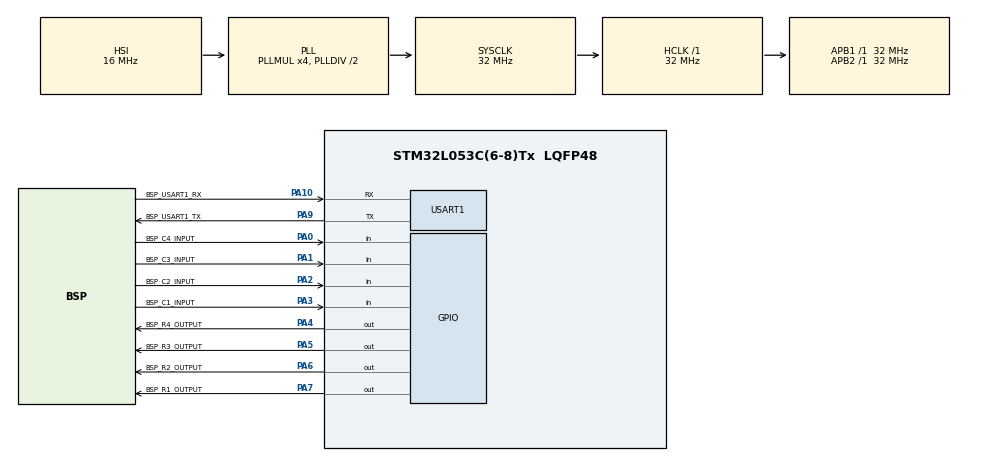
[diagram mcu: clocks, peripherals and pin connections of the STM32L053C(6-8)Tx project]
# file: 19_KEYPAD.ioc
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Mcu.Family=STM32L0
Mcu.Name=STM32L053C(6-8)Tx
Mcu.Package=LQFP48
PA0.GPIO_Label=BSP_C4_INPUT
PA0.GPIO_PuPd=GPIO_PULLDOWN
PA0.Signal=GPIO_Input
PA1.GPIO_Label=BSP_C3_INPUT
PA1.GPIO_PuPd=GPIO_PULLDOWN
PA1.Signal=GPIO_Input
PA10.GPIO_Label=BSP_USART1_RX
PA10.Mode=Asynchronous
PA10.Signal=USART1_RX
PA13.Mode=Serial_Wire
PA13.Signal=SYS_SWDIO
PA14.Mode=Serial_Wire
PA14.Signal=SYS_SWCLK
PA2.GPIO_Label=BSP_C2_INPUT
PA2.GPIO_PuPd=GPIO_PULLDOWN
PA2.Signal=GPIO_Input
PA3.GPIO_Label=BSP_C1_INPUT
PA3.GPIO_PuPd=GPIO_PULLDOWN
PA3.Signal=GPIO_Input
PA4.GPIO_Label=BSP_R4_OUTPUT
PA4.Signal=GPIO_Output
PA5.GPIO_Label=BSP_R3_OUTPUT
PA5.Signal=GPIO_Output
PA6.GPIO_Label=BSP_R2_OUTPUT
PA6.Signal=GPIO_Output
PA7.GPIO_Label=BSP_R1_OUTPUT
PA7.Signal=GPIO_Output
PA9.GPIO_Label=BSP_USART1_TX
PA9.Mode=Asynchronous
PA9.Signal=USART1_TX
ProjectManager.HeapSize=0x200
ProjectManager.StackSize=0x400
ProjectManager.TargetToolchain=STM32CubeIDE
RCC.AHBFreq_Value=32000000
RCC.APB1Freq_Value=32000000
RCC.APB1TimFreq_Value=32000000
RCC.APB2Freq_Value=32000000
RCC.APB2TimFreq_Value=32000000
RCC.HCLKFreq_Value=32000000
RCC.HSE_VALUE=8000000
RCC.HSI16_VALUE=16000000
RCC.HSI48MClockSelection=RCC_USBCLKSOURCE_HSI48
RCC.HSI48_VALUE=48000000
RCC.HSI_VALUE=16000000
RCC.LSE_VALUE=32768
RCC.MSI_VALUE=2097000
RCC.PLLMUL=RCC_PLLMUL_4
RCC.RTCClockSelectionVirtual=RCC_RTCCLKSOURCE_LSE
RCC.SYSCLKFreq_VALUE=32000000
RCC.SYSCLKSource=RCC_SYSCLKSOURCE_PLLCLK
RCC.VCOOutputFreq_Value=64000000
USART1.VirtualMode-Asynchronous=VM_ASYNC
board=STM32L0538-DISCO

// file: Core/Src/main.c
/* USER CODE BEGIN Header */
/**
  ******************************************************************************
  * @file           : main.c
  * @brief          : Main program body
  ******************************************************************************
  * @attention
  *
  * Copyright (c) 2024 STMicroelectronics.
  * All rights reserved.
  *
  * This software is licensed under terms that can be found in the LICENSE file
  * in the root directory of this software component.
  * If no LICENSE file comes with this software, it is provided AS-IS.
  *
  ******************************************************************************
  */
/* USER CODE END Header */
#include "main.h"

/* USER CODE BEGIN Includes */
#include "stdio.h"
/* USER CODE END Includes */

/* USER CODE BEGIN PD */
#define R1_PORT GPIOA
#define R1_PIN GPIO_PIN_7

#define R2_PORT GPIOA
#define R2_PIN GPIO_PIN_6

#define R3_PORT GPIOA
#define R3_PIN GPIO_PIN_5

#define R4_PORT GPIOA
#define R4_PIN GPIO_PIN_4

#define C1_PORT GPIOA
#define C1_PIN GPIO_PIN_3

#define C2_PORT GPIOA
#define C2_PIN GPIO_PIN_2

#define C3_PORT GPIOA
#define C3_PIN GPIO_PIN_1

#define C4_PORT GPIOA
#define C4_PIN GPIO_PIN_0
/* USER CODE END PD */

UART_HandleTypeDef huart1;

/* USER CODE BEGIN PV */
char key;
// Define key map
char keys[4][4] = {
  {'1','2','3','A'},
  {'4','5','6','B'},
  {'7','8','9','C'},
  {'*','0','#','D'}
};
/* USER CODE END PV */

void SystemClock_Config(void);
static void MX_GPIO_Init(void);
static void MX_USART1_UART_Init(void);
/* USER CODE BEGIN PFP */

void keypad_init(void);
char keypad_scan(void);

/* USER CODE END PFP */

/* USER CODE BEGIN 0 */
//char read_keypad(void)
//{
//	key = 'x';
//	HAL_GPIO_WritePin(R1_PORT, R1_PIN, GPIO_PIN_SET);		// pull the R1 LOW
//	HAL_GPIO_WritePin(R2_PORT, R2_PIN, GPIO_PIN_RESET);		// pull the R2 HIGH
//	HAL_GPIO_WritePin(R3_PORT, R3_PIN, GPIO_PIN_RESET);		// pull the R3 HIGH
//	HAL_GPIO_WritePin(R4_PORT, R4_PIN, GPIO_PIN_RESET);		// pull the R4 HIGH
//
//	int pinstatus1 = (HAL_GPIO_ReadPin(C1_PORT, C1_PIN));
//	printf("pinstatus1 = %d\r\n",pinstatus1);
//
//	int pinstatus2 = (HAL_GPIO_ReadPin(C2_PORT, C2_PIN));
//	printf("pinstatus2 = %d\r\n",pinstatus2);
//
//	int pinstatus3 = (HAL_GPIO_ReadPin(C3_PORT, C3_PIN));
//	printf("pinstatus3 = %d\r\n",pinstatus3);
//
//	int pinstatus4 = (HAL_GPIO_ReadPin(C4_PORT, C4_PIN));
//	printf("pinstatus4 = %d\r\n",pinstatus4);
//
//
//	if((HAL_GPIO_ReadPin(C1_PORT, C1_PIN)) == GPIO_PIN_SET)
//	{
//		 return '1';
//	}
//	if((HAL_GPIO_ReadPin(C2_PORT, C2_PIN)) == GPIO_PIN_SET)
//	{
//		 return '2';
//	}
//	if((HAL_GPIO_ReadPin(C3_PORT, C3_PIN)) == GPIO_PIN_SET)
//	{
//		 return '3';
//	}
//	if((HAL_GPIO_ReadPin(C4_PORT, C4_PIN)) == GPIO_PIN_SET)
//	{
//		 return 'A';
//	}
//	return 'x';
//}
/* USER CODE END 0 */

int main(void)
{

  /* MCU Configuration--------------------------------------------------------*/

  /* Reset of all peripherals, Initializes the Flash interface and the Systick. */
  HAL_Init();

  /* USER CODE BEGIN Init */
//  keypad_init();
  /* USER CODE END Init */

  /* Configure the system clock */
  SystemClock_Config();

  /* Initialize all configured peripherals */
  MX_GPIO_Init();
  MX_USART1_UART_Init();

  /* Infinite loop */
  while (1)
  {

    /* USER CODE BEGIN 3 */

	  char key = keypad_scan();
	      if (key != 0) {
	        printf("Key Pressed: %c\r\n", key);
	      }

//	  key = read_keypad();
//	  HAL_Delay(2000);
//	  switch(key)
//	  {
//	  case '1':
//		  printf("key : %c\r\n",key);
//		  break;
//	  case '2':
//		  printf("key : %c\r\n",key);
//		  break;
//	  case '3':
//		  printf("key : %c\r\n", key);
//		  break;
//	  case 'A':
//		  printf("key : %c\r\n", key);
//		  break;
//	  default:
//		  printf("INVALID KEY\r\n");
//	  }
  }
  /* USER CODE END 3 */
}

void SystemClock_Config(void)
{
  RCC_OscInitTypeDef RCC_OscInitStruct = {0};
  RCC_ClkInitTypeDef RCC_ClkInitStruct = {0};
  RCC_PeriphCLKInitTypeDef PeriphClkInit = {0};

  /** Configure the main internal regulator output voltage
  */
  __HAL_PWR_VOLTAGESCALING_CONFIG(PWR_REGULATOR_VOLTAGE_SCALE1);

  /** Initializes the RCC Oscillators according to the specified parameters
  * in the RCC_OscInitTypeDef structure.
  */
  RCC_OscInitStruct.OscillatorType = RCC_OSCILLATORTYPE_HSI;
  RCC_OscInitStruct.HSIState = RCC_HSI_ON;
  RCC_OscInitStruct.HSICalibrationValue = RCC_HSICALIBRATION_DEFAULT;
  RCC_OscInitStruct.PLL.PLLState = RCC_PLL_ON;
  RCC_OscInitStruct.PLL.PLLSource = RCC_PLLSOURCE_HSI;
  RCC_OscInitStruct.PLL.PLLMUL = RCC_PLLMUL_4;
  RCC_OscInitStruct.PLL.PLLDIV = RCC_PLLDIV_2;
  if (HAL_RCC_OscConfig(&RCC_OscInitStruct) != HAL_OK)
  {
    Error_Handler();
  }

  /** Initializes the CPU, AHB and APB buses clocks
  */
  RCC_ClkInitStruct.ClockType = RCC_CLOCKTYPE_HCLK|RCC_CLOCKTYPE_SYSCLK
                              |RCC_CLOCKTYPE_PCLK1|RCC_CLOCKTYPE_PCLK2;
  RCC_ClkInitStruct.SYSCLKSource = RCC_SYSCLKSOURCE_PLLCLK;
  RCC_ClkInitStruct.AHBCLKDivider = RCC_SYSCLK_DIV1;
  RCC_ClkInitStruct.APB1CLKDivider = RCC_HCLK_DIV1;
  RCC_ClkInitStruct.APB2CLKDivider = RCC_HCLK_DIV1;

  if (HAL_RCC_ClockConfig(&RCC_ClkInitStruct, FLASH_LATENCY_1) != HAL_OK)
  {
    Error_Handler();
  }
  PeriphClkInit.PeriphClockSelection = RCC_PERIPHCLK_USART1;
  PeriphClkInit.Usart1ClockSelection = RCC_USART1CLKSOURCE_PCLK2;
  if (HAL_RCCEx_PeriphCLKConfig(&PeriphClkInit) != HAL_OK)
  {
    Error_Handler();
  }
}

static void MX_USART1_UART_Init(void)
{

  huart1.Instance = USART1;
  huart1.Init.BaudRate = 115200;
  huart1.Init.WordLength = UART_WORDLENGTH_8B;
  huart1.Init.StopBits = UART_STOPBITS_1;
  huart1.Init.Parity = UART_PARITY_NONE;
  huart1.Init.Mode = UART_MODE_TX_RX;
  huart1.Init.HwFlowCtl = UART_HWCONTROL_NONE;
  huart1.Init.OverSampling = UART_OVERSAMPLING_16;
  huart1.Init.OneBitSampling = UART_ONE_BIT_SAMPLE_DISABLE;
  huart1.AdvancedInit.AdvFeatureInit = UART_ADVFEATURE_NO_INIT;
  if (HAL_UART_Init(&huart1) != HAL_OK)
  {
    Error_Handler();
  }

}

static void MX_GPIO_Init(void)
{
  GPIO_InitTypeDef GPIO_InitStruct = {0};

  /* GPIO Ports Clock Enable */
  __HAL_RCC_GPIOA_CLK_ENABLE();

  /*Configure GPIO pin Output Level */
  HAL_GPIO_WritePin(GPIOA, BSP_R4_OUTPUT_Pin|BSP_R3_OUTPUT_Pin|BSP_R2_OUTPUT_Pin|BSP_R1_OUTPUT_Pin, GPIO_PIN_RESET);

  /*Configure GPIO pins : BSP_C4_INPUT_Pin BSP_C3_INPUT_Pin BSP_C2_INPUT_Pin BSP_C1_INPUT_Pin */
  GPIO_InitStruct.Pin = BSP_C4_INPUT_Pin|BSP_C3_INPUT_Pin|BSP_C2_INPUT_Pin|BSP_C1_INPUT_Pin;
  GPIO_InitStruct.Mode = GPIO_MODE_INPUT;
  GPIO_InitStruct.Pull = GPIO_PULLDOWN;
  HAL_GPIO_Init(GPIOA, &GPIO_InitStruct);

  /*Configure GPIO pins : BSP_R4_OUTPUT_Pin BSP_R3_OUTPUT_Pin BSP_R2_OUTPUT_Pin BSP_R1_OUTPUT_Pin */
  GPIO_InitStruct.Pin = BSP_R4_OUTPUT_Pin|BSP_R3_OUTPUT_Pin|BSP_R2_OUTPUT_Pin|BSP_R1_OUTPUT_Pin;
  GPIO_InitStruct.Mode = GPIO_MODE_OUTPUT_PP;
  GPIO_InitStruct.Pull = GPIO_NOPULL;
  GPIO_InitStruct.Speed = GPIO_SPEED_FREQ_LOW;
  HAL_GPIO_Init(GPIOA, &GPIO_InitStruct);

}

/* USER CODE BEGIN 4 */
//void keypad_init(void)
//{
//  // Initialize GPIO pins
//  GPIO_InitTypeDef GPIO_InitStruct = {0};
//  GPIO_InitStruct.Pin = R1_PIN | R2_PIN | R3_PIN | R4_PIN;
//  GPIO_InitStruct.Mode = GPIO_MODE_OUTPUT_PP;
//  GPIO_InitStruct.Speed = GPIO_SPEED_FREQ_LOW;
//  HAL_GPIO_Init(GPIOA, &GPIO_InitStruct);
//
//  GPIO_InitStruct.Pin = C1_PIN | C2_PIN | C3_PIN | C4_PIN;
//  GPIO_InitStruct.Mode = GPIO_MODE_INPUT;
//  GPIO_InitStruct.Pull = GPIO_PULLUP;
//  HAL_GPIO_Init(GPIOA, &GPIO_InitStruct);
//}

char keypad_scan(void)
{
  char key = 0;
  // Scan rows
  for (int i = 0; i < 4; i++) {
    HAL_GPIO_WritePin(R1_PORT, R1_PIN << i, GPIO_PIN_RESET); // Select row
    for (int j = 0; j < 4; j++) {
      if (HAL_GPIO_ReadPin(C1_PORT, C1_PIN << j) == GPIO_PIN_RESET) {
        key = keys[i][j]; // Key pressed
        while (HAL_GPIO_ReadPin(C1_PORT, C1_PIN << j) == GPIO_PIN_RESET); // Wait for key release
      }
    }
    HAL_GPIO_WritePin(R1_PORT, R1_PIN << i, GPIO_PIN_SET); // Deselect row
  }
  return key;
}
/* USER CODE END 4 */

void Error_Handler(void)
{
  __disable_irq();
  while (1)
  {
  }
}
